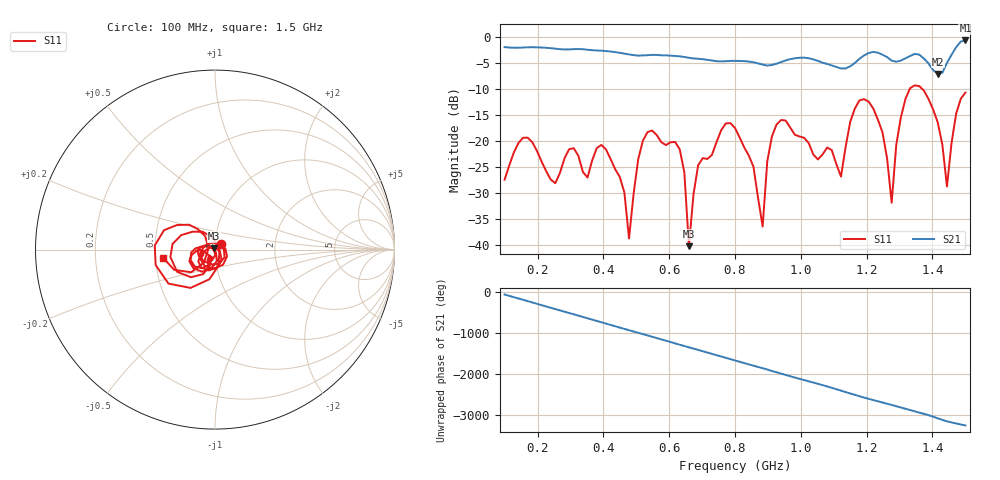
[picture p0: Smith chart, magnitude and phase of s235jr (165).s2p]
! NanoVNA-App
! Date: 2025-09-25 15:05:27
! Start: 100MHz Stop: 1,5GHz Points: 101
! S-Parameter data: F S11 S21 S12 S22
# Hz S RI R 50
!  Frequency  S11_Real  S11_Imag  S21_Real  S21_Imag  S12_Real  S12_Imag  S22_Real  S22_Imag
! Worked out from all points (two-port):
!   101 points, 100 MHz to 1.5 GHz, reference 50 ohm
!   highest |S21| = -0.68 dB at 1.5 GHz (marker M1); lowest = -7.1 dB at 1.416 GHz (marker M2)
!   |S21| within 3 dB of the highest: start of sweep to 621.3 MHz; 1.189 GHz to 1.256 GHz (66.57 MHz wide, 5.44 % of centre) (the widest 2 of 4)
!   lowest |S11| = -40.3 dB at 660 MHz (marker M3), VSWR 1.02, Z = 49.3 + j0.633 ohm
!   |S11| at or under -10 dB: start of sweep to 1.331 GHz; 1.369 GHz to end of sweep
!   S12 and S22 are empty: the file has one direction only
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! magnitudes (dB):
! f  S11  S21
! 100 MHz  -27.5  -2.0
! 156 MHz  -19.4  -2.0
! 338 MHz  -26.0  -2.4
! 408 MHz  -21.6  -2.7
! 478 MHz  -38.8  -3.4
! 520 MHz  -20.0  -3.6
! 576 MHz  -20.2  -3.5
! 632 MHz  -21.6  -3.7
! 660 MHz  -40.3  -4.0
! 688 MHz  -24.7  -4.2
! 800 MHz  -17.5  -4.6
! 884 MHz  -36.5  -5.3
! 898 MHz  -24.0  -5.5
! 926 MHz  -16.9  -5.2
! 1.038 GHz  -22.6  -4.3
! 1.122 GHz  -26.9  -6.1
! 1.206 GHz  -12.4  -3.1
! 1.276 GHz  -31.9  -4.6
! 1.332 GHz  -9.9  -3.7
! 1.416 GHz  -16.5  -7.1
! 1.444 GHz  -28.8  -5.0
! 1.5 GHz  -10.7  -0.7
